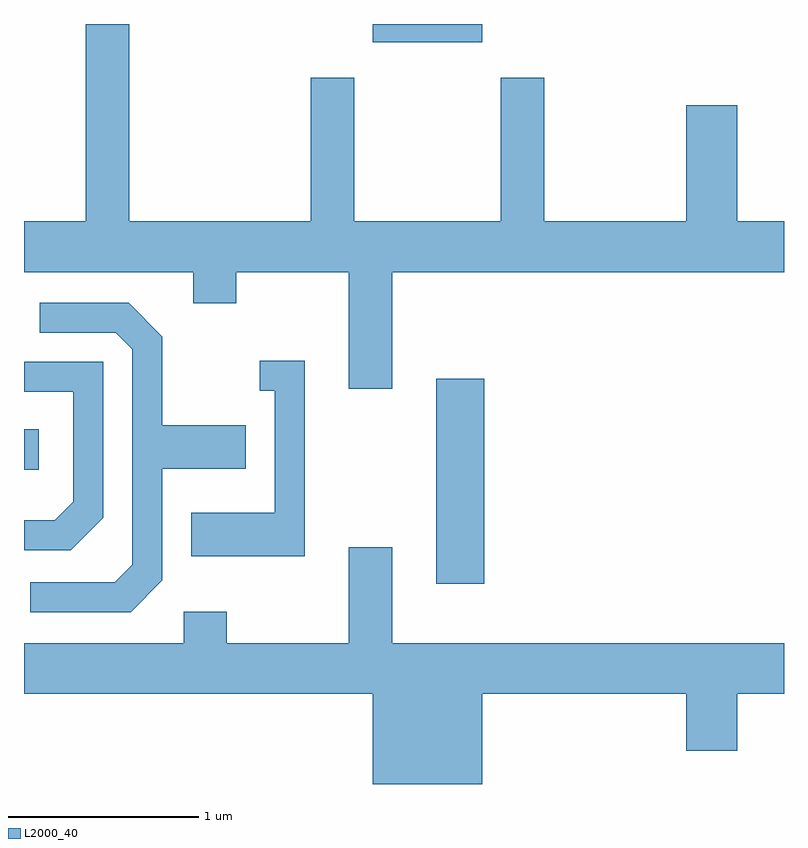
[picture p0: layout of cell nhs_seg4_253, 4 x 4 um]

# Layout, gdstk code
import gdstk
lib = gdstk.Library(unit=1e-6, precision=1e-09)
def R(c, l, rs):  # rectangles x0, y0, x1, y1
    for r in rs: c.add(gdstk.rectangle(r[:2], r[2:], *l))
def P(c, l, *ps):  # polygons
    for p in ps: c.add(gdstk.Polygon(p, *l))
L2000_40 = (2000, 40)

nhs_seg4_253 = lib.new_cell('nhs_seg4_253')
R(nhs_seg4_253, L2000_40, [(193.781,1353.036,194.034,1354.114), (191.611,1353.636,191.689,1353.849), (193.446,1355.886,194.024,1355.982)])
P(nhs_seg4_253, L2000_40, [(193.549,1354.676),(195.611,1354.676),(195.611,1354.944),(195.364,1354.944),(195.364,1355.554),(195.096,1355.554),(195.096,1354.944),(194.349,1354.944),(194.349,1355.699),(194.121,1355.699),(194.121,1354.944),(193.349,1354.944),(193.349,1355.699),(193.121,1355.699),(193.121,1354.944),(192.164,1354.944),(192.164,1355.982),(191.936,1355.982),(191.936,1354.944),(191.611,1354.944),(191.611,1354.676),(192.501,1354.676),(192.501,1354.511),(192.729,1354.511),(192.729,1354.676),(193.321,1354.676),(193.321,1354.061),(193.549,1354.061)],
  [(192.339,1353.054),(192.339,1353.641),(192.779,1353.641),(192.779,1353.869),(192.339,1353.869),(192.339,1354.337),(192.162,1354.514),(191.693,1354.514),(191.693,1354.356),(192.094,1354.356),(192.181,1354.269),(192.181,1353.137),(192.089,1353.044),(191.643,1353.044),(191.643,1352.886),(192.172,1352.886)],
  [(193.089,1354.209),(192.853,1354.209),(192.853,1354.051),(192.931,1354.051),(192.931,1353.409),(192.491,1353.409),(192.491,1353.181),(193.089,1353.181)],
  [(192.029,1353.384),(192.029,1354.204),(191.611,1354.204),(191.611,1354.046),(191.871,1354.046),(191.871,1353.467),(191.774,1353.369),(191.611,1353.369),(191.611,1353.211),(191.857,1353.211)],
  [(194.024,1352.456),(195.096,1352.456),(195.096,1352.156),(195.364,1352.156),(195.364,1352.456),(195.611,1352.456),(195.611,1352.724),(193.549,1352.724),(193.549,1353.229),(193.321,1353.229),(193.321,1352.724),(192.679,1352.724),(192.679,1352.889),(192.451,1352.889),(192.451,1352.724),(191.611,1352.724),(191.611,1352.456),(193.446,1352.456),(193.446,1351.982),(194.024,1351.982)])

lib.write_gds('nhs_seg4_253.gds')
